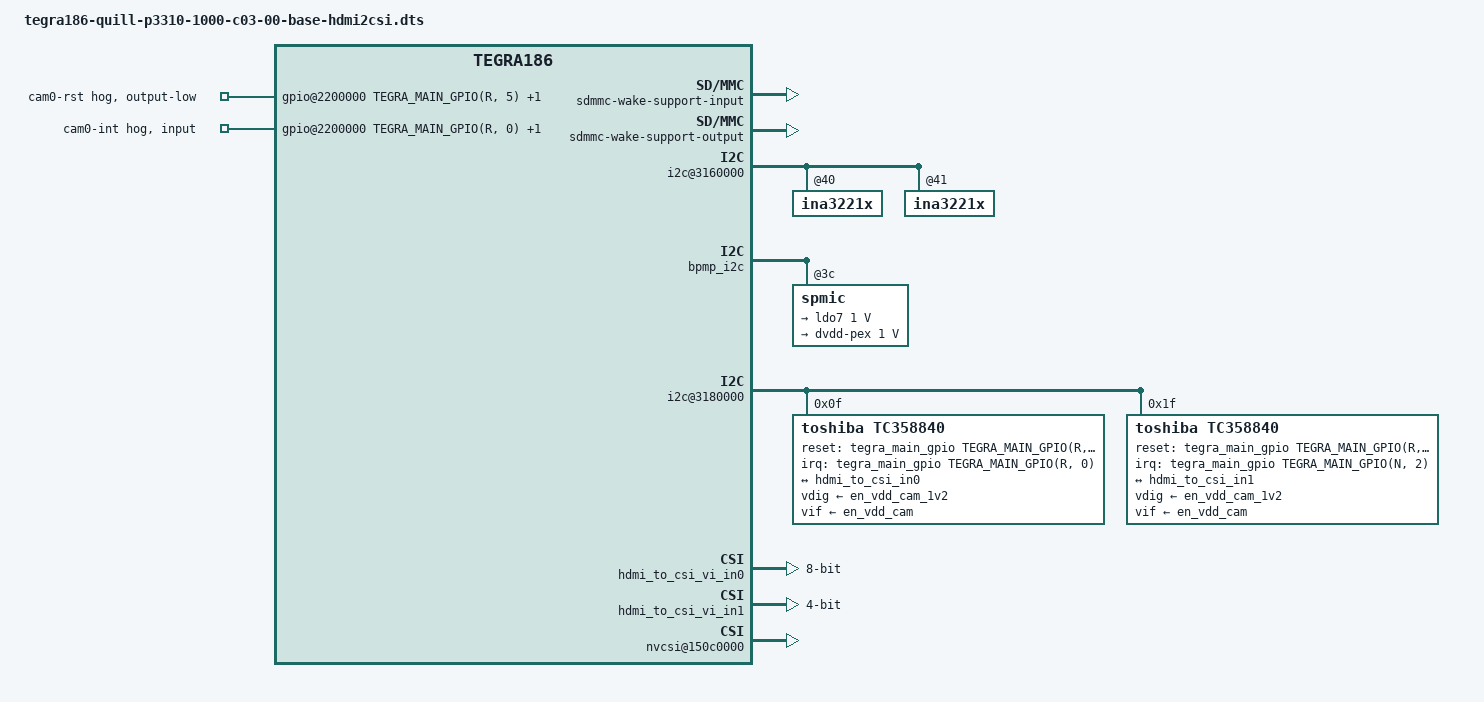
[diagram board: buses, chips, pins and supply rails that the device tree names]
/*
 * tegra186-quill-p3310-c03-00-base.dts Quill C03 Board
 *
 * Copyright (c) 2016-2017, NVIDIA CORPORATION. All rights reserved.
 *
 * This program is free software; you can redistribute it and/or modify
 * it under the terms of the GNU General Public License as published by
 * the Free Software Foundation; version 2 of the License.
 *
 * This program is distributed in the hope that it will be useful, but WITHOUT
 * ANY WARRANTY; without even the implied warranty of MERCHANTABILITY or
 * FITNESS FOR A PARTICULAR PURPOSE.  See the GNU General Public License for
 * more details.
 */

#include "tegra186-quill-p3310-1000-a00-00-base.dts"

/ {
    nvidia,dtsfilename = __FILE__;
    nvidia,dtbbuildtime = __DATE__, __TIME__;

    pinmux@2430000 {
        common {
            gpio_edp2_pp5 {
                status = "okay";
            };

            gpio_edp3_pp6 {
                status = "okay";
            };
        };
    };

    gpio@2200000 {
        sdmmc-wake-support-input {
            status = "okay";
        };

        sdmmc-wake-support-output {
            status = "okay";
        };
    };

    fixed-regulators {
        regulator@1 {
            gpio = <&tegra_main_gpio TEGRA_MAIN_GPIO(P, 6) 0>;
                };
    };

    sdhci@3400000 {
        cd-gpios = <&tegra_main_gpio TEGRA_MAIN_GPIO(P, 5) 0>;
        nvidia,cd-wakeup-capable;
    };

    i2c@3160000 {
        ina3221x@40 {
            channel@0 {
                ti,shunt-resistor-mohm = <10>;
            };
            channel@1 {
                ti,shunt-resistor-mohm = <10>;
            };
        };
        ina3221x@41 {
            channel@0 {
                ti,shunt-resistor-mohm = <20>;
            };
            channel@1 {
                ti,shunt-resistor-mohm = <10>;
            };
            channel@2 {
                ti,rail-name = "VDD_SYS_DDR";
                ti,shunt-resistor-mohm = <10>;
            };
        };
    };

    ahci-sata@3507000 {
        gpios = <&spmic 7 0>;
    };

    pcie-controller@10003000 {
        pci@1,0 {
            nvidia,num-lanes = <4>;
            nvidia,disable-clock-request;
        };
        pci@2,0 {
            nvidia,num-lanes = <0>;
        };
        pci@3,0 {
            nvidia,num-lanes = <1>;
        };
    };

        xhci@3530000 {
        phys = <&tegra_xusb_padctl TEGRA_PADCTL_PHY_UTMI_P(0)>,
            <&tegra_xusb_padctl TEGRA_PADCTL_PHY_UTMI_P(1)>,
            <&tegra_xusb_padctl TEGRA_PADCTL_PHY_USB3_P(0)>;
        phy-names = "utmi-0", "utmi-1", "usb3-0";
    };

    pinctrl@3520000 {
        pinmux {
            usb3-std-A-port2 {
                nvidia,lanes = "usb3-0";
            };
        };
    };

       bluedroid_pm {
        bluedroid_pm,reset-gpio = <&tegra_main_gpio TEGRA_MAIN_GPIO(H, 5) 0>;
        };

    bpmp_i2c {
        spmic@3c {
            pinmux@0 {
                pin_gpio2 {
                    status = "disabled";
                };
                pin_gpio3 {
                    status = "disabled";
                };
                pin_gpio7 {
                    drive-push-pull = <1>;
                };
            };

            regulators {
                ldo0 {
                    maxim,active-fps-source = <MAX77620_FPS_SRC_NONE>;
                };

                ldo6 {
                    maxim,active-fps-source = <MAX77620_FPS_SRC_NONE>;
                    regulator-boot-on;
                    regulator-always-on;
                };

                ldo7 {
                    regulator-min-microvolt = <1000000>;
                    regulator-max-microvolt = <1000000>;
                };

                ldo8 {
                    regulator-name = "dvdd-pex";
                    regulator-min-microvolt = <1000000>;
                    regulator-max-microvolt = <1000000>;
                };
            };
        };
    };

    /* 
     * NOTE: the following is manually added
     */
    /delete-node/ plugin-manager;

    /* CSI subdevice */
    i2c@3180000 {
        status = "okay";
        #address-cells = <1>;
        #size-cells = <0>;

        tc358840@0f {
            status = "okay";
            compatible = "toshiba,tc358840";
            reg = <0x0f>;
            devnode = "video0";

            /* Power Supply */
            vdig-supply = <&en_vdd_cam_1v2>;
            vif-supply = <&en_vdd_cam>;
            
            // clocks = <&hdmi_osc>;
            // clock-names = "refclk";
            reset-gpios = <&tegra_main_gpio TEGRA_MAIN_GPIO(R, 5) GPIO_ACTIVE_LOW>;
            interrupt-parent = <&tegra_main_gpio>;
            interrupts = <TEGRA_MAIN_GPIO(R, 0) IRQ_TYPE_LEVEL_HIGH>;
            csi_port = <3>;

            refclk_hz = <48000000>; /* 40 - 50 MHz */
            ddc5v_delay = <1>; /* 50 ms */
            enable_hdcp = <0>;

            // line rate 1 Gbit / CSI lane
            
            lineinitcnt = <8000>;
            lptxtimecnt = <7>;
            tclk_headercnt = <0x00320206>;
            tclk_trailcnt = <0x00040005>;
            ths_headercnt = <0x00190008>;
            twakeup = <0x00004E20>;
            tclk_postcnt = <0x0000000A>;
            ths_trailcnt = <0x0010000B>;
            hstxvregcnt = <0x00000020>;

            /* PLL */
            /* Bps per lane is (refclk_hz / pll_prd + 1) * pll_fbd + 1 */
            pll_prd = <5>;
            pll_fbd = <125>;

            port {
                tc358840_out0: endpoint {
                    remote-endpoint = <&hdmi_to_csi_in0>;
                    data-lanes = <1 2 3 4>;
                    clock-lanes = <0>;
                    // clock-noncontinuous;
                    link-frequencies = /bits/ 64 <297000000>;
                };
            };
        };


        tc358840@1f {
            status = "okay";
            compatible = "toshiba,tc358840";
            reg = <0x1f>;
                    devnode = "video1";

            /* Power Supply */
            vdig-supply = <&en_vdd_cam_1v2>;
            vif-supply = <&en_vdd_cam>;


            reset-gpios = <&tegra_main_gpio TEGRA_MAIN_GPIO(R, 1) GPIO_ACTIVE_LOW>;
            interrupt-parent = <&tegra_main_gpio>;
            interrupts = <TEGRA_MAIN_GPIO(N, 2) IRQ_TYPE_LEVEL_HIGH>;
            csi_port = <1>;

            refclk_hz = <48000000>; /* 40 - 50 MHz */
            ddc5v_delay = <1>; /* 50 ms */
            enable_hdcp = <0>;

            // line rate 1 Gbit / CSI lane

            lineinitcnt = <8000>;
            lptxtimecnt = <7>;
            tclk_headercnt = <0x00320206>;
            tclk_trailcnt = <0x00040005>;
            ths_headercnt = <0x00190008>;
            twakeup = <0x00004E20>;
            tclk_postcnt = <0x0000000A>;
            ths_trailcnt = <0x0010000B>;
            hstxvregcnt = <0x00000020>;

            /* PLL */
            /* Bps per lane is (refclk_hz / pll_prd + 1) * pll_fbd + 1 */
            pll_prd = <5>;
            pll_fbd = <125>;

            port {
                tc358840_out1: endpoint {
                    remote-endpoint = <&hdmi_to_csi_in1>;
                    data-lanes = <1 2 3 4>;
                    clock-lanes = <0>;
                    // clock-noncontinuous;
                    link-frequencies = /bits/ 64 <297000000>;
                };
            };
        };
    };

    host1x {
        /* Delete existing VI node to avoid conflicts */
        /delete-node/ vi;
        
        /* CSI related */
        vi@15700000 {
            // compatible = "nvidia,tegra186-gp-vi";
            compatible = "nvidia,tegra186-vi";
            status = "okay";
            
            #address-cells = <1>;
            #size-cells = <0>;
            
            num-channels = <2>;
            
            avdd_dsi_csi-supply = <&spmic_sd1>;

            /* COPY FROM BASE DT: tegra186-soc-base.dtsi ------------------- */
            power-domains = <&ve_pd>;

            reg = <0x0 0x15700000 0x0 0x00100000>;

            interrupts = <0 201 0x04
                          0 202 0x04
                          0 203 0x04>;

            resets = <&tegra_car TEGRA186_RESET_VI>,
                     <&tegra_car TEGRA186_RESET_TSCTNVI>;

            reset-names = "vi", "tsctnvi";

            clocks = <&tegra_car TEGRA186_CLK_VI>,
                     <&tegra_car TEGRA186_CLK_NVCSI>,
                     <&tegra_car TEGRA186_CLK_NVCSILP>;

            clock-names = "vi", "nvcsi", "nvcsilp";

            #stream-id-cells = <1>;
            /* ------------------------------------------------------------- */
            ports {
                status = "okay";
                #address-cells = <1>;
                #size-cells = <0>;
                /* TX2 interconnect ports */
                port@0 {
                    status = "okay";
                    reg = <0>;
                    hdmi_to_csi_vi_in0: endpoint {
                        status = "okay";
                        csi-port = <0>;
                        bus-width = <8>; //<8>
                        // bus-width = <1>;
                        remote-endpoint = <&hdmi_2_csi_out0>;
                    };
                };
                port@1 {
                    status = "okay";
                    reg = <1>;
                    hdmi_to_csi_vi_in1: endpoint {
                        status = "okay";
                        csi-port = <4>;
                        bus-width = <4>;
                        remote-endpoint = <&hdmi_2_csi_out1>;
                    };
                };
            };
        };

        nvcsi@150c0000 {
            compatible = "nvidia,tegra186-nvcsi";
            status = "okay";
            num-channels = <2>;
            #address-cells = <1>;
            #size-cells = <0>;

            channel@0 {
                status = "okay";
                reg = <0>;
                ports {
                    status = "okay";
                    #address-cells = <1>;
                    #size-cells = <0>;
                    port@0 {
                        status = "okay";
                        reg = <0>;
                        hdmi_to_csi_in0: endpoint@0 { /* from I2C */
                            status = "okay";
                            csi-port = <0>;
                            bus-width = <8>;
                            remote-endpoint = <&tc358840_out0>; /* to I2C */
                        };
                    };
                    port@1 {
                        status = "okay";
                        reg = <1>;
                        hdmi_2_csi_out0: endpoint@1 { /* from VI */
                            status = "okay";
                            remote-endpoint = <&hdmi_to_csi_vi_in0>; /* to VI */
                        };
                    };
                };
            };
            
            channel@1 {
                status = "okay";
                reg = <1>;
                ports {
                    status = "okay";
                    #address-cells = <1>;
                    #size-cells = <0>;
                    port@0 {
                        status = "okay";
                        reg = <0>;
                        hdmi_to_csi_in1: endpoint@2 { /* from I2C */
                            status = "okay";
                            csi-port = <4>;
                            bus-width = <4>;
                            remote-endpoint = <&tc358840_out1>; /* to I2C */
                        };
                    };
                    port@1 {
                        status = "okay";
                        reg = <1>;
                        hdmi_2_csi_out1: endpoint@3 { /* from VI */
                            status = "okay";
                            remote-endpoint = <&hdmi_to_csi_vi_in1>; /* to VI */
                        };
                    };
                };
            };
        };
    };

    mipical {
        status = "okay";
    };

    fixed-regulators {
        /* HDMI2CSI / FPGA MADI BOARD REGULATORS */
        en_vdd_sys:regulator@118 {
            regulator-boot-on;
            regulator-always-on;
        };
        en_vdd_cam:regulator@2 {
            regulator-boot-on;
            regulator-always-on;
        };
        en_vdd_cam_1v2:regulator@12 {
            regulator-boot-on;
            regulator-always-on;
        };
        /* FPGA MADI BOARD REGULATOR */
        en_avdd_disp_3v3:regulator@8 {
            regulator-boot-on;
            regulator-always-on;
        };
    };

/*** HDMI2CSI ***/
    /* set camera gpio direction to output */
    pinmux@2430000 {
        common {
            /*
             * Pull down the INT pin of the TC358840 (HDMI IN A) while
             * in reset in order to set i2c address 0x0F.
             */
            qspi_sck_pr0 {
                nvidia,pins = "qspi_sck_pr0";
                nvidia,function = "rsvd1";
                nvidia,enable-input = <TEGRA_PIN_ENABLE>;
                nvidia,pull = <TEGRA_PIN_PULL_DOWN>;
                nvidia,tristate = <TEGRA_PIN_DISABLE>;
            };

            /*
             * Pull up the INT pin of the TC358840 (HDMI IN B) while
             * in reset in order to set i2c address 0x1F.
             */
            gpio_cam3_pn2 {
                nvidia,pins = "gpio_cam3_pn2";
                nvidia,function = "rsvd2";
                nvidia,enable-input = <TEGRA_PIN_ENABLE>;
                nvidia,pull = <TEGRA_PIN_PULL_UP>;
                nvidia,tristate = <TEGRA_PIN_DISABLE>;
            };
        };
    };
    /* set camera gpio direction to output */
    gpio@2200000 {
        camera-control-output-low {
            status = "okay";
            gpio-hog;
            output-low;
            gpios = <TEGRA_MAIN_GPIO(R, 5) 0
                 TEGRA_MAIN_GPIO(R, 1) 0>;
            label = "cam0-rst", "cam1-rst";
        };

        camera-control-input {
            status = "okay";
            gpio-hog;
            input;
            gpios = <TEGRA_MAIN_GPIO(R, 0) 0
                 TEGRA_MAIN_GPIO(N, 2) 0>;
            label = "cam0-int", "cam1-int";
        };
    };
};
